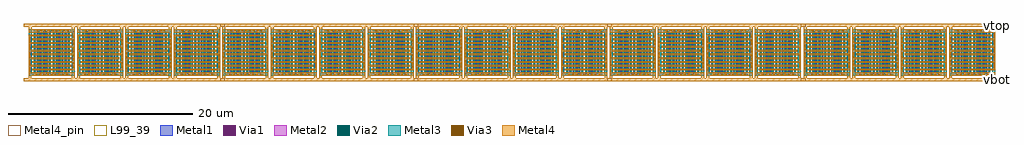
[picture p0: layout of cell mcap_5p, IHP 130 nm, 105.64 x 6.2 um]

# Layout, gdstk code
import gdstk
lib = gdstk.Library(unit=1e-6, precision=1e-09)
def R(c, l, rs):  # rectangles x0, y0, x1, y1
    for r in rs: c.add(gdstk.rectangle(r[:2], r[2:], *l))
def A(c, l, x, y, w, h, nx, ny, dx, dy):  # array of equal rectangles
    R(c, l, [(x+i*dx, y+j*dy, x+i*dx+w, y+j*dy+h) for i in range(nx) for j in range(ny)])
Metal1 = (8, 0)
Metal2 = (10, 0)
Via1 = (19, 0)
Via2 = (29, 0)
Metal3 = (30, 0)
Via3 = (49, 0)
Metal4 = (50, 0)
Metal4_pin = (50, 2)
L99_39 = (99, 39)

cap_mfringe = lib.new_cell('cap_mfringe')
A(cap_mfringe, Metal1, 0.55, 0, 0.16, 4.61, 6, 1, 0.68, 0)
A(cap_mfringe, Metal1, 0.89, 0.39, 0.16, 4.61, 6, 1, 0.68, 0)
R(cap_mfringe, Metal1, [(0,0,0.33,5), (0,0,4.45,0.21), (4.67,0,5,5), (0.55,4.79,5,5)])
A(cap_mfringe, Metal2, 0.42, 0.555, 4.58, 0.2, 1, 5, 0, 0.82)
A(cap_mfringe, Metal2, 0, 0.965, 4.58, 0.2, 1, 5, 0, 0.82)
R(cap_mfringe, Metal2, [(0,0,5,0.345), (0,0,0.205,4.445), (4.795,0.555,5,5), (0,4.655,5,5)])
A(cap_mfringe, Via1, 0.765, 0.01, 0.19, 0.19, 9, 1, 0.41, 0)
A(cap_mfringe, Via1, 0.01, 0.665, 0.19, 0.19, 1, 9, 0, 0.41)
A(cap_mfringe, Via1, 4.8, 0.865, 0.19, 0.19, 1, 9, 0, 0.41)
A(cap_mfringe, Via1, 0.865, 4.8, 0.19, 0.19, 9, 1, 0.41, 0)
A(cap_mfringe, Via2, 0.765, 0.005, 0.19, 0.19, 9, 1, 0.41, 0)
A(cap_mfringe, Via2, 0.005, 0.665, 0.19, 0.19, 1, 9, 0, 0.41)
A(cap_mfringe, Via2, 4.805, 0.865, 0.19, 0.19, 1, 9, 0, 0.41)
A(cap_mfringe, Via2, 0.865, 4.805, 0.19, 0.19, 9, 1, 0.41, 0)
A(cap_mfringe, Metal3, 0.555, 0, 0.2, 4.59, 5, 1, 0.82, 0)
A(cap_mfringe, Metal3, 0.965, 0.41, 0.2, 4.59, 5, 1, 0.82, 0)
R(cap_mfringe, Metal3, [(0,0,0.345,5), (0,0,4.445,0.2), (4.655,0,5,5), (0.555,4.8,5,5)])
A(cap_mfringe, Via3, 0.765, 0.005, 0.19, 0.19, 9, 1, 0.41, 0)
A(cap_mfringe, Via3, 0.005, 0.665, 0.19, 0.19, 1, 9, 0, 0.41)
A(cap_mfringe, Via3, 4.805, 0.865, 0.19, 0.19, 1, 9, 0, 0.41)
A(cap_mfringe, Via3, 0.865, 4.805, 0.19, 0.19, 9, 1, 0.41, 0)
A(cap_mfringe, Metal4, 0.41, 0.555, 4.59, 0.2, 1, 5, 0, 0.82)
A(cap_mfringe, Metal4, 0, 0.965, 4.59, 0.2, 1, 5, 0, 0.82)
R(cap_mfringe, Metal4, [(0,0,5,0.345), (0,0,0.2,4.445), (4.8,0.555,5,5), (0,4.655,5,5)])
R(cap_mfringe, Metal4_pin, [(0,2.4,0.2,2.6), (2.4,4.8,2.6,5)])
R(cap_mfringe, L99_39, [(0,0,5,5)])
cap_mfringe.add(gdstk.Label('cap_mfringe C=58.000fF', (0,-0.5), layer=63, texttype=0))

cap5ux5u = lib.new_cell('cap5ux5u')
R(cap5ux5u, Metal4_pin, [(0,0.02,0.2,0.32), (4.8,4.68,5,4.98)])
cap5ux5u.add(gdstk.Reference(cap_mfringe, (0,0)))
cap5ux5u.add(gdstk.Label('bot', (0.1,0.17), layer=50, texttype=25))
cap5ux5u.add(gdstk.Label('top', (4.9,4.83), layer=50, texttype=25))

cap20ux20u = lib.new_cell('cap20ux20u')
R(cap20ux20u, Metal4_pin, [(20.72,-0.6,21.22,-0.3), (20.72,5.295,21.22,5.595)])
cap20ux20u.add(gdstk.FlexPath([(-0.5,5.445),(21.22,5.445)], 0.3, ends="flush", simple_path=True, layer=50, datatype=0))  # Metal4
cap20ux20u.add(gdstk.FlexPath([(15.315,4.655),(15.315,5.595)], 0.33, ends="flush", simple_path=True, layer=50, datatype=0))  # Metal4
cap20ux20u.add(gdstk.FlexPath([(10.645,4.655),(10.645,5.595)], 0.33, ends="flush", simple_path=True, layer=50, datatype=0))  # Metal4
cap20ux20u.add(gdstk.FlexPath([(20.555,4.655),(20.555,5.595)], 0.33, ends="flush", simple_path=True, layer=50, datatype=0))  # Metal4
cap20ux20u.add(gdstk.FlexPath([(4.835,4.655),(4.835,5.595)], 0.33, ends="flush", simple_path=True, layer=50, datatype=0))  # Metal4
cap20ux20u.add(gdstk.FlexPath([(0.165,4.655),(0.165,5.595)], 0.33, ends="flush", simple_path=True, layer=50, datatype=0))  # Metal4
cap20ux20u.add(gdstk.FlexPath([(10.075,4.655),(10.075,5.595)], 0.33, ends="flush", simple_path=True, layer=50, datatype=0))  # Metal4
cap20ux20u.add(gdstk.FlexPath([(5.405,4.655),(5.405,5.595)], 0.33, ends="flush", simple_path=True, layer=50, datatype=0))  # Metal4
cap20ux20u.add(gdstk.FlexPath([(15.885,4.655),(15.885,5.595)], 0.33, ends="flush", simple_path=True, layer=50, datatype=0))  # Metal4
cap20ux20u.add(gdstk.FlexPath([(-0.5,-0.45),(21.22,-0.45)], 0.3, ends="flush", simple_path=True, layer=50, datatype=0))  # Metal4
cap20ux20u.add(gdstk.FlexPath([(0.15,0.345),(0.15,-0.515),(0.15,-0.6)], 0.3, ends="flush", simple_path=True, layer=50, datatype=0))  # Metal4
cap20ux20u.add(gdstk.FlexPath([(4.845,0.345),(4.845,-0.515),(4.845,-0.6)], 0.3, ends="flush", simple_path=True, layer=50, datatype=0))  # Metal4
cap20ux20u.add(gdstk.FlexPath([(5.39,0.345),(5.39,-0.395),(5.39,-0.6)], 0.3, ends="flush", simple_path=True, layer=50, datatype=0))  # Metal4
cap20ux20u.add(gdstk.FlexPath([(10.09,0.345),(10.09,-0.52),(10.09,-0.6)], 0.3, ends="flush", simple_path=True, layer=50, datatype=0))  # Metal4
cap20ux20u.add(gdstk.FlexPath([(10.63,0.345),(10.63,-0.565),(10.63,-0.6)], 0.3, ends="flush", simple_path=True, layer=50, datatype=0))  # Metal4
cap20ux20u.add(gdstk.FlexPath([(15.33,0.345),(15.33,-0.565),(15.33,-0.6)], 0.3, ends="flush", simple_path=True, layer=50, datatype=0))  # Metal4
cap20ux20u.add(gdstk.FlexPath([(15.87,0.345),(15.87,-0.56),(15.87,-0.6)], 0.3, ends="flush", simple_path=True, layer=50, datatype=0))  # Metal4
cap20ux20u.add(gdstk.FlexPath([(20.57,0.345),(20.57,-0.6)], 0.3, ends="flush", simple_path=True, layer=50, datatype=0))  # Metal4
cap20ux20u.add(gdstk.Reference(cap5ux5u, (0,0)))
cap20ux20u.add(gdstk.Reference(cap5ux5u, (5.24,0)))
cap20ux20u.add(gdstk.Reference(cap5ux5u, (15.72,0)))
cap20ux20u.add(gdstk.Reference(cap5ux5u, (10.48,0)))
cap20ux20u.add(gdstk.Label('top', (20.97,5.445), layer=50, texttype=25))
cap20ux20u.add(gdstk.Label('bot', (20.97,-0.55), layer=50, texttype=25))

mcap_5p = lib.new_cell('mcap_5p')
R(mcap_5p, Metal4_pin, [(105.14,0,105.64,0.3), (105.14,5.895,105.64,6.195)])
mcap_5p.add(gdstk.Reference(cap20ux20u, (0.5,0.6)))
mcap_5p.add(gdstk.Reference(cap20ux20u, (21.46,0.6)))
mcap_5p.add(gdstk.Reference(cap20ux20u, (42.42,0.6)))
mcap_5p.add(gdstk.Reference(cap20ux20u, (63.38,0.6)))
mcap_5p.add(gdstk.Reference(cap20ux20u, (84.42,0.6)))
mcap_5p.add(gdstk.Label('vtop', (105.39,6.045), layer=50, texttype=25))
mcap_5p.add(gdstk.Label('vbot', (105.39,0.15), layer=50, texttype=25))

lib.write_gds('mcap_5p.gds')
